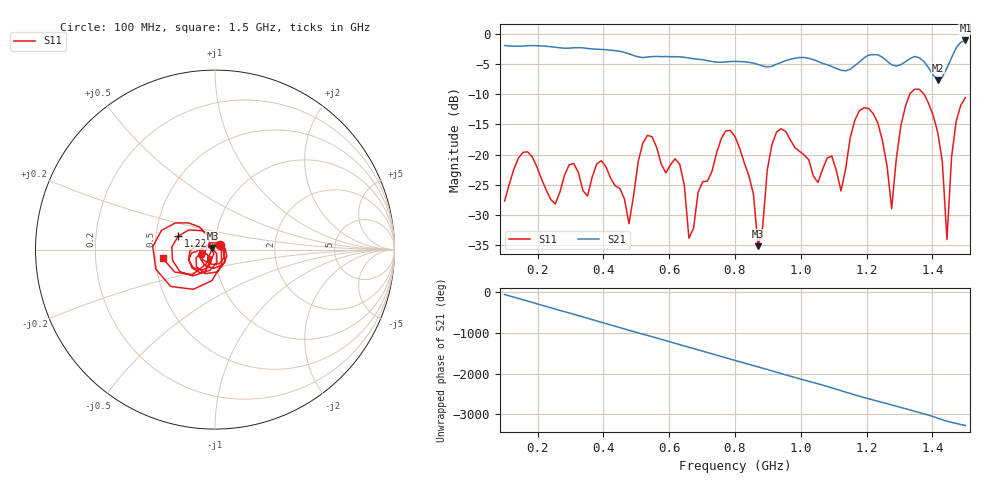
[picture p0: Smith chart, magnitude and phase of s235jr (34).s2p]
! NanoVNA-App
! Date: 2025-09-26 09:45:03
! Start: 100MHz Stop: 1,5GHz Points: 101
! S-Parameter data: F S11 S21 S12 S22
# Hz S RI R 50
!  Frequency  S11_Real  S11_Imag  S21_Real  S21_Imag  S12_Real  S12_Imag  S22_Real  S22_Imag
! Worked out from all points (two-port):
!   101 points, 100 MHz to 1.5 GHz, reference 50 ohm
!   highest |S21| = -1.12 dB at 1.5 GHz (marker M1); lowest = -7.7 dB at 1.416 GHz (marker M2)
!   |S21| within 3 dB of the highest: start of sweep to 670 MHz; 1.19 GHz to 1.253 GHz (62.97 MHz wide, 5.16 % of centre) (the widest 2 of 5)
!   lowest |S11| = -35.1 dB at 870 MHz (marker M3), VSWR 1.04, Z = 48.6 + j0.941 ohm
!   |S11| at or under -10 dB: start of sweep to 1.331 GHz; 1.374 GHz to end of sweep
!   S12 and S22 are empty: the file has one direction only
!   S11 on the Smith chart (normalised r, x): 100 MHz: 1.06, +0.06; 1.22 GHz: 0.65, +0.10; 1.5 GHz: 0.55, -0.06
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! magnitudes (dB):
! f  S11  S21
! 100 MHz  -27.7  -2.0
! 156 MHz  -19.6  -2.1
! 338 MHz  -26.0  -2.3
! 394 MHz  -21.0  -2.6
! 478 MHz  -31.4  -3.3
! 520 MHz  -18.1  -4.0
! 576 MHz  -21.6  -3.8
! 632 MHz  -21.6  -3.8
! 660 MHz  -33.8  -4.0
! 800 MHz  -17.0  -4.6
! 870 MHz  -35.1  -5.1
! 926 MHz  -16.3  -5.0
! 1.038 GHz  -23.5  -4.3
! 1.122 GHz  -26.0  -6.0
! 1.164 GHz  -14.3  -5.3
! 1.22 GHz  -13.2  -3.5
! 1.276 GHz  -28.9  -5.2
! 1.332 GHz  -9.9  -4.1
! 1.416 GHz  -16.3  -7.7
! 1.444 GHz  -34.0  -5.7
! 1.472 GHz  -14.5  -2.3
! 1.5 GHz  -10.6  -1.1
